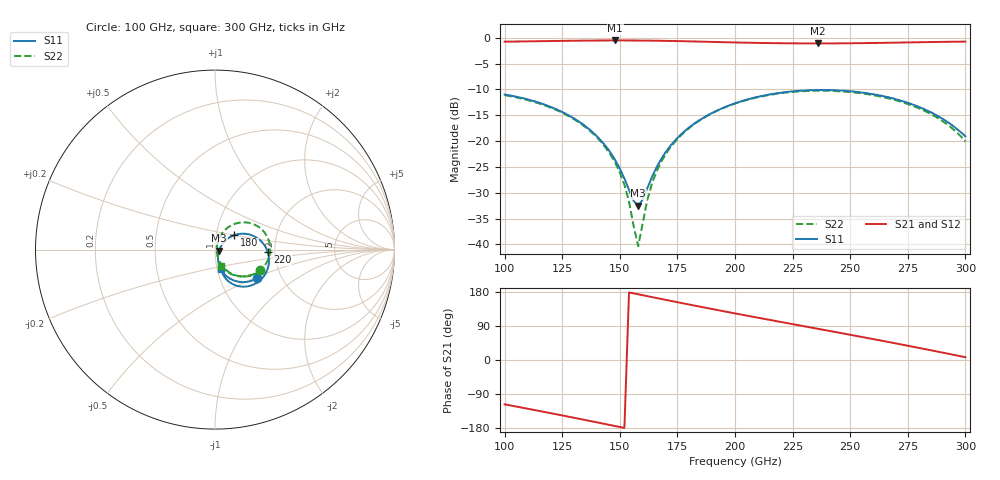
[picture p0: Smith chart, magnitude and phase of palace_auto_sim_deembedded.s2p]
! Created with skrf 1.11.0 (http://scikit-rf.org).
# GHz S DB R 50.0
!freq dBS11 angS11 dBS21 angS21 dBS12 angS12 dBS22 angS22
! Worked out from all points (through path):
!   101 points, 100 GHz to 300 GHz, reference 50 ohm
!   highest |S21| = -0.51 dB at 148 GHz (marker M1); lowest = -1.1 dB at 236 GHz (marker M2)
!   group delay of S21, straight-line fit = 3.26 ps
!   lowest |S11| = -32.5 dB at 158 GHz (marker M3), VSWR 1.05, Z = 52.3 - j0.627 ohm
!   |S11| at or under -10 dB: start of sweep to end of sweep
!   |S22| runs from -40.3 to -10.2 dB; largest |S21 - S12| = 1e-13
!   S11 on the Smith chart (normalised r, x): 100 GHz: 1.50, -0.52; 180 GHz: 1.22, +0.20; 220 GHz: 1.83, -0.06; 300 GHz: 1.04, -0.22
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100  -10.98 -34.2  -0.75 -117.0  -0.75 -117.0  -11.11 -24.6
120  -13.38 -55.6  -0.62 -140.3  -0.62 -140.3  -13.51 -45.1
134  -16.76 -69.1  -0.55 -157.2  -0.55 -157.2  -16.93 -59.2
142  -19.97 -74.4  -0.52 -166.9  -0.52 -166.9  -20.23 -66.3
148  -23.66 -74.1  -0.51 -174.3  -0.51 -174.3  -24.19 -69.7
152  -27.24 -67.0  -0.51 -179.2  -0.51 -179.2  -28.47 -68.4
154  -29.45 -57.7  -0.52 178.3  -0.52 178.3  -31.72 -63.7
156  -31.59 -40.6  -0.52 175.8  -0.52 175.8  -36.42 -48.3
158  -32.49 -14.6  -0.53 173.4  -0.53 173.4  -40.34 4.7
162  -29.05 25.7  -0.54 168.4  -0.54 168.4  -31.25 65.1
164  -26.89 33.9  -0.56 166.0  -0.56 166.0  -28.14 69.2
168  -23.44 40.2  -0.58 161.1  -0.58 161.1  -23.98 70.1
174  -19.86 40.3  -0.63 153.7  -0.63 153.7  -20.10 66.6
180  -17.39 36.8  -0.68 146.5  -0.68 146.5  -17.51 61.3
200  -12.68 18.3  -0.90 123.0  -0.90 123.0  -12.73 40.9
220  -10.62 -2.8  -1.05 100.3  -1.05 100.3  -10.72 19.4
234  -10.13 -17.7  -1.08 84.6  -1.08 84.6  -10.26 4.5
236  -10.11 -19.8  -1.09 82.3  -1.09 82.3  -10.24 2.3
252  -10.43 -36.4  -1.05 64.3  -1.05 64.3  -10.59 -14.8
268  -11.67 -52.4  -0.95 45.9  -0.95 45.9  -11.87 -32.4
286  -14.65 -67.9  -0.81 24.5  -0.81 24.5  -14.99 -53.1
300  -19.07 -72.5  -0.74 7.3  -0.74 7.3  -20.07 -70.3
